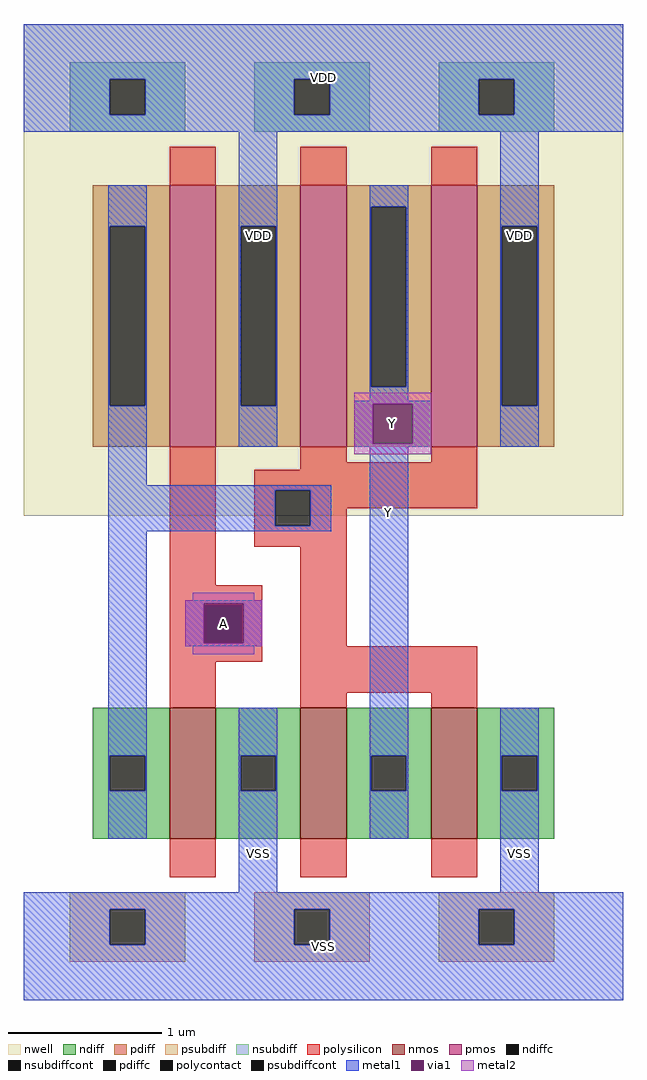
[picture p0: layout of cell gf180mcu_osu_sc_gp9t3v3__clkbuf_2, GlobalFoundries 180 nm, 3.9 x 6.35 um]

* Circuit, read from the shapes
.subckt gf180mcu_osu_sc_gp9t3v3__clkbuf_2 A Y VDD VSS
XM1 VSS A n1 VSS nfet_03v3 w=0.85u l=0.3u
XM2 Y n1 VSS VSS nfet_03v3 w=0.85u l=0.3u m=2
XM3 VDD A n1 VDD pfet_03v3 w=1.7u l=0.3u
XM4 Y n1 VDD VDD pfet_03v3 w=1.7u l=0.3u m=2
.ends

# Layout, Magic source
magic
tech gf180mcuA
magscale 1 10
<< nwell >>
rect 0 630 780 1270
<< nmos >>
rect 190 210 250 380
rect 360 210 420 380
rect 530 210 590 380
<< pmos >>
rect 190 720 250 1060
rect 360 720 420 1060
rect 530 720 590 1060
<< ndiff >>
rect 90 318 190 380
rect 90 272 112 318
rect 158 272 190 318
rect 90 210 190 272
rect 250 318 360 380
rect 250 272 282 318
rect 328 272 360 318
rect 250 210 360 272
rect 420 318 530 380
rect 420 272 452 318
rect 498 272 530 318
rect 420 210 530 272
rect 590 318 690 380
rect 590 272 622 318
rect 668 272 690 318
rect 590 210 690 272
<< pdiff >>
rect 90 1007 190 1060
rect 90 773 112 1007
rect 158 773 190 1007
rect 90 720 190 773
rect 250 1007 360 1060
rect 250 773 282 1007
rect 328 773 360 1007
rect 250 720 360 773
rect 420 1032 530 1060
rect 420 798 452 1032
rect 498 798 530 1032
rect 420 720 530 798
rect 590 1007 690 1060
rect 590 773 622 1007
rect 668 773 690 1007
rect 590 720 690 773
<< ndiffc >>
rect 112 272 158 318
rect 282 272 328 318
rect 452 272 498 318
rect 622 272 668 318
<< pdiffc >>
rect 112 773 158 1007
rect 282 773 328 1007
rect 452 798 498 1032
rect 622 773 668 1007
<< psubdiff >>
rect 60 118 210 140
rect 60 72 112 118
rect 158 72 210 118
rect 60 50 210 72
rect 300 118 450 140
rect 300 72 352 118
rect 398 72 450 118
rect 300 50 450 72
rect 540 118 690 140
rect 540 72 592 118
rect 638 72 690 118
rect 540 50 690 72
<< nsubdiff >>
rect 60 1198 210 1220
rect 60 1152 112 1198
rect 158 1152 210 1198
rect 60 1130 210 1152
rect 300 1198 450 1220
rect 300 1152 352 1198
rect 398 1152 450 1198
rect 300 1130 450 1152
rect 540 1198 690 1220
rect 540 1152 592 1198
rect 638 1152 690 1198
rect 540 1130 690 1152
<< psubdiffcont >>
rect 112 72 158 118
rect 352 72 398 118
rect 592 72 638 118
<< nsubdiffcont >>
rect 112 1152 158 1198
rect 352 1152 398 1198
rect 592 1152 638 1198
<< polysilicon >>
rect 190 1060 250 1110
rect 360 1060 420 1110
rect 530 1060 590 1110
rect 190 540 250 720
rect 360 700 420 720
rect 530 700 590 720
rect 360 690 590 700
rect 300 663 590 690
rect 300 617 327 663
rect 373 640 590 663
rect 373 617 420 640
rect 300 590 420 617
rect 190 513 310 540
rect 190 467 237 513
rect 283 467 310 513
rect 190 440 310 467
rect 360 460 420 590
rect 190 380 250 440
rect 360 400 590 460
rect 360 380 420 400
rect 530 380 590 400
rect 190 160 250 210
rect 360 160 420 210
rect 530 160 590 210
<< polycontact >>
rect 327 617 373 663
rect 237 467 283 513
<< metal1 >>
rect 0 1198 780 1270
rect 0 1152 112 1198
rect 158 1152 352 1198
rect 398 1152 592 1198
rect 638 1152 780 1198
rect 0 1130 780 1152
rect 110 1007 160 1060
rect 110 773 112 1007
rect 158 773 160 1007
rect 110 670 160 773
rect 280 1007 330 1130
rect 280 773 282 1007
rect 328 773 330 1007
rect 450 1032 500 1060
rect 450 798 452 1032
rect 498 798 500 1032
rect 450 780 500 798
rect 620 1007 670 1130
rect 280 720 330 773
rect 430 776 530 780
rect 430 724 454 776
rect 506 724 530 776
rect 430 720 530 724
rect 620 773 622 1007
rect 668 773 670 1007
rect 620 720 670 773
rect 110 663 400 670
rect 110 617 327 663
rect 373 617 400 663
rect 110 610 400 617
rect 110 318 160 610
rect 210 516 310 520
rect 210 464 234 516
rect 286 464 310 516
rect 210 460 310 464
rect 110 272 112 318
rect 158 272 160 318
rect 110 210 160 272
rect 280 318 330 380
rect 280 272 282 318
rect 328 272 330 318
rect 280 140 330 272
rect 450 318 500 720
rect 450 272 452 318
rect 498 272 500 318
rect 450 210 500 272
rect 620 318 670 380
rect 620 272 622 318
rect 668 272 670 318
rect 620 140 670 272
rect 0 118 780 140
rect 0 72 112 118
rect 158 72 352 118
rect 398 72 592 118
rect 638 72 780 118
rect 0 0 780 72
<< via1 >>
rect 454 724 506 776
rect 234 513 286 516
rect 234 467 237 513
rect 237 467 283 513
rect 283 467 286 513
rect 234 464 286 467
<< metal2 >>
rect 430 776 530 790
rect 430 724 454 776
rect 506 724 530 776
rect 430 710 530 724
rect 220 520 300 530
rect 210 516 310 520
rect 210 464 234 516
rect 286 464 310 516
rect 210 460 310 464
rect 220 450 300 460
<< labels >>
rlabel via1 s 234 464 286 516 4 A
port 1 nsew signal input
rlabel via1 s 454 724 506 776 4 Y
port 2 nsew signal output
rlabel metal1 s 280 720 330 1270 4 VDD
port 3 nsew power bidirectional abutment
rlabel metal1 s 280 0 330 380 4 VSS
port 4 nsew ground bidirectional abutment
rlabel metal1 s 620 720 670 1270 1 VDD
port 3 nsew power bidirectional abutment
rlabel metal1 s 0 1130 780 1270 1 VDD
port 3 nsew power bidirectional abutment
rlabel metal1 s 620 0 670 380 1 VSS
port 4 nsew ground bidirectional abutment
rlabel metal1 s 0 0 780 140 1 VSS
port 4 nsew ground bidirectional abutment
rlabel metal2 s 220 450 300 530 1 A
port 1 nsew signal input
rlabel metal2 s 210 460 310 520 1 A
port 1 nsew signal input
rlabel metal1 s 210 460 310 520 1 A
port 1 nsew signal input
rlabel metal2 s 430 710 530 790 1 Y
port 2 nsew signal output
rlabel metal1 s 450 210 500 1060 1 Y
port 2 nsew signal output
rlabel metal1 s 430 720 530 780 1 Y
port 2 nsew signal output
<< properties >>
string FIXED_BBOX 0 0 780 1270
string GDS_END 104864
string GDS_FILE $PDKPATH/libs.ref/gf180mcu_osu_sc_gp9t3v3/gds/gf180mcu_osu_sc_gp9t3v3.gds
string GDS_START 99840
string LEFclass CORE
string LEFsite gf180mcu_osu_sc_gp9t3v3
string LEFsymmetry X Y
<< end >>
